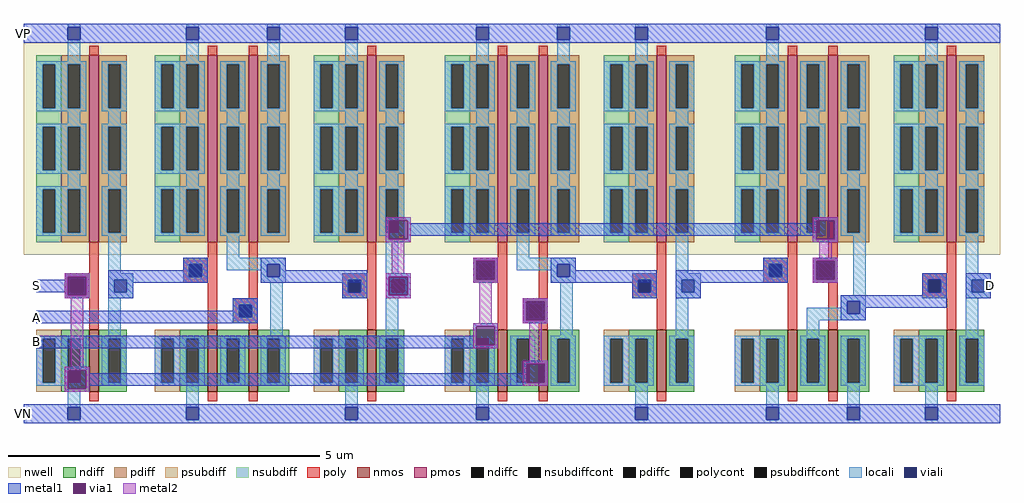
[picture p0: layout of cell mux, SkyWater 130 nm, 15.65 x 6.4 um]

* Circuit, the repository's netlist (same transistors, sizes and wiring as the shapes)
* NGSPICE file created from mux.ext - technology: sky130A

.subckt inverter A OUT VP VN
X0 OUT A VN VN sky130_fd_pr__nfet_01v8 ad=0.45 pd=2.9 as=0.45 ps=2.9 w=1 l=0.15
X1 OUT A VP VP sky130_fd_pr__pfet_01v8 ad=1.35 pd=6.9 as=1.35 ps=6.9 w=3 l=0.15
.ends

.subckt nor A B OUT VP VN
X0 VN B OUT VN sky130_fd_pr__nfet_01v8 ad=0.5 pd=3 as=0.25 ps=1.5 w=1 l=0.15
X1 OUT A VN VN sky130_fd_pr__nfet_01v8 ad=0.25 pd=1.5 as=0.45 ps=2.9 w=1 l=0.15
X2 a_30_480# A VP VP sky130_fd_pr__pfet_01v8 ad=0.75 pd=3.5 as=1.35 ps=6.9 w=3 l=0.15
X3 OUT B a_30_480# VP sky130_fd_pr__pfet_01v8 ad=1.5 pd=7 as=0.75 ps=3.5 w=3 l=0.15
.ends

.subckt or A B OUT VP VN
Xinverter_0 nor_0/OUT OUT VP VN inverter
Xnor_0 A B nor_0/OUT VP VN nor
.ends

.subckt nand A B OUT VP VN
X0 OUT B a_30_0# VN sky130_fd_pr__nfet_01v8 ad=0.5 pd=3 as=0.25 ps=1.5 w=1 l=0.15
X1 a_30_0# A VN VN sky130_fd_pr__nfet_01v8 ad=0.25 pd=1.5 as=0.45 ps=2.9 w=1 l=0.15
X2 OUT A VP VP sky130_fd_pr__pfet_01v8 ad=0.75 pd=3.5 as=1.35 ps=6.9 w=3 l=0.15
X3 VP B OUT VP sky130_fd_pr__pfet_01v8 ad=1.5 pd=7 as=0.75 ps=3.5 w=3 l=0.15
.ends

.subckt and A B OUT VP VN
Xinverter_0 nand_0/OUT OUT VP VN inverter
Xnand_0 A B nand_0/OUT VP VN nand
.ends

.subckt mux A B S D VP VN
Xinverter_0 S and_0/A VP VN inverter
Xor_0 or_0/A or_0/B D VP VN or
Xand_0 and_0/A A or_0/B VP VN and
Xand_1 B S or_0/A VP VN and
.ends

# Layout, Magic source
magic
tech sky130A
magscale 1 2
<< nwell >>
rect 1270 540 1310 1220
rect 2200 540 2250 1220
<< metal1 >>
rect 0 1220 30 1280
rect 1270 1220 1310 1280
rect 2200 1220 2240 1280
rect 1160 650 1240 660
rect 1160 590 1170 650
rect 1230 640 1240 650
rect 2530 650 2610 660
rect 2530 640 2540 650
rect 1230 600 2540 640
rect 1230 590 1240 600
rect 1160 580 1240 590
rect 2530 590 2540 600
rect 2600 590 2610 650
rect 2530 580 2610 590
rect 510 490 590 530
rect 130 470 210 480
rect 130 460 140 470
rect 40 420 140 460
rect 130 410 140 420
rect 200 410 210 470
rect 130 400 210 410
rect 270 450 590 490
rect 1440 520 1520 530
rect 1160 470 1240 480
rect 270 400 350 450
rect 1160 410 1170 470
rect 1230 410 1240 470
rect 1440 460 1450 520
rect 1510 460 1520 520
rect 2370 490 2450 530
rect 1440 450 1520 460
rect 2090 450 2450 490
rect 2530 520 2610 530
rect 2530 460 2540 520
rect 2600 460 2610 520
rect 2530 450 2610 460
rect 1160 400 1240 410
rect 2090 400 2170 450
rect 3020 400 3100 480
rect 670 360 750 400
rect 40 320 750 360
rect 1600 390 1680 400
rect 1600 330 1610 390
rect 1670 330 1680 390
rect 1600 320 1680 330
rect 1440 310 1520 320
rect 1440 280 1450 310
rect 40 250 1450 280
rect 1510 250 1520 310
rect 40 240 1520 250
rect 1600 190 1680 200
rect 130 170 210 180
rect 130 110 140 170
rect 200 160 210 170
rect 1600 160 1610 190
rect 200 130 1610 160
rect 1670 130 1680 190
rect 200 120 1680 130
rect 200 110 210 120
rect 130 100 210 110
rect 0 0 30 60
rect 1270 0 1310 60
rect 2200 0 2240 60
<< via1 >>
rect 1170 590 1230 650
rect 2540 590 2600 650
rect 140 410 200 470
rect 1170 410 1230 470
rect 1450 460 1510 520
rect 2540 460 2600 520
rect 1610 330 1670 390
rect 1450 250 1510 310
rect 140 110 200 170
rect 1610 130 1670 190
<< metal2 >>
rect 1160 650 1240 660
rect 1160 590 1170 650
rect 1230 590 1240 650
rect 1160 580 1240 590
rect 2530 650 2610 660
rect 2530 590 2540 650
rect 2600 590 2610 650
rect 2530 580 2610 590
rect 1180 480 1220 580
rect 2550 530 2590 580
rect 1440 520 1520 530
rect 130 470 210 480
rect 130 410 140 470
rect 200 410 210 470
rect 130 400 210 410
rect 1160 470 1240 480
rect 1160 410 1170 470
rect 1230 410 1240 470
rect 1440 460 1450 520
rect 1510 460 1520 520
rect 1440 450 1520 460
rect 2530 520 2610 530
rect 2530 460 2540 520
rect 2600 460 2610 520
rect 2530 450 2610 460
rect 1160 400 1240 410
rect 150 180 190 400
rect 1460 320 1500 450
rect 1600 390 1680 400
rect 1600 330 1610 390
rect 1670 330 1680 390
rect 1600 320 1680 330
rect 1440 310 1520 320
rect 1440 250 1450 310
rect 1510 250 1520 310
rect 1440 240 1520 250
rect 1620 200 1660 320
rect 1600 190 1680 200
rect 130 170 210 180
rect 130 110 140 170
rect 200 110 210 170
rect 1600 130 1610 190
rect 1670 130 1680 190
rect 1600 120 1680 130
rect 130 100 210 110
use and  and_0
transform 1 0 380 0 1 0
box 0 0 931 1280
use and  and_1
transform 1 0 1310 0 1 0
box 0 0 931 1280
use inverter  inverter_0
transform 1 0 210 0 1 100
box -210 -100 170 1180
use or  or_0
transform 1 0 2240 0 1 0
box 0 0 931 1280
<< labels >>
flabel metal1 40 420 40 460 1 FreeSans 400 0 0 0 S
port 3 n
flabel metal1 40 320 40 360 1 FreeSans 400 0 0 0 A
port 1 n
flabel metal1 40 240 40 280 1 FreeSans 400 0 0 0 B
port 2 n
flabel metal1 3100 400 3100 480 1 FreeSans 400 0 0 0 D
port 4 n
flabel metal1 0 1220 0 1280 3 FreeSans 400 0 0 0 VP
port 5 e
flabel metal1 0 0 0 60 3 FreeSans 400 0 0 0 VN
port 6 e
<< end >>

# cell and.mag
magic
tech sky130A
<< metal1 >>
rect 0 610 15 640
rect 65 225 105 265
rect 230 225 360 245
rect 390 200 430 240
rect 145 160 185 200
rect 0 0 15 30
use inverter  inverter_0
transform 1 0 360 0 1 50
box -105 -50 85 590
use nand  nand_0
transform 1 0 105 0 1 50
box -105 -50 150 590
<< labels >>
flabel metal1 65 225 65 265 1 FreeSans 200 0 0 0 A
port 1 n
flabel metal1 145 160 145 200 1 FreeSans 200 0 0 0 B
port 2 n
flabel metal1 430 200 430 240 1 FreeSans 200 0 0 0 OUT
port 3 n
flabel metal1 0 610 0 640 3 FreeSans 200 0 0 0 VP
port 4 e
flabel metal1 0 0 0 30 3 FreeSans 200 0 0 0 VN
port 5 e
<< end >>

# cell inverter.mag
magic
tech sky130A
<< nwell >>
rect -105 220 85 560
<< nmos >>
rect 0 0 15 100
<< pmos >>
rect 0 240 15 540
<< ndiff >>
rect -45 85 0 100
rect -45 15 -35 85
rect -15 15 0 85
rect -45 0 0 15
rect 15 85 60 100
rect 15 15 30 85
rect 50 15 60 85
rect 15 0 60 15
<< pdiff >>
rect -45 525 0 540
rect -45 455 -35 525
rect -15 455 0 525
rect -45 425 0 455
rect -45 355 -35 425
rect -15 355 0 425
rect -45 325 0 355
rect -45 255 -35 325
rect -15 255 0 325
rect -45 240 0 255
rect 15 525 60 540
rect 15 455 30 525
rect 50 455 60 525
rect 15 425 60 455
rect 15 355 30 425
rect 50 355 60 425
rect 15 325 60 355
rect 15 255 30 325
rect 50 255 60 325
rect 15 240 60 255
<< ndiffc >>
rect -35 15 -15 85
rect 30 15 50 85
<< pdiffc >>
rect -35 455 -15 525
rect -35 355 -15 425
rect -35 255 -15 325
rect 30 455 50 525
rect 30 355 50 425
rect 30 255 50 325
<< psubdiff >>
rect -85 85 -45 100
rect -85 15 -75 85
rect -55 15 -45 85
rect -85 0 -45 15
<< nsubdiff >>
rect -85 525 -45 540
rect -85 455 -75 525
rect -55 455 -45 525
rect -85 425 -45 455
rect -85 355 -75 425
rect -55 355 -45 425
rect -85 325 -45 355
rect -85 255 -75 325
rect -55 255 -45 325
rect -85 240 -45 255
<< psubdiffcont >>
rect -75 15 -55 85
<< nsubdiffcont >>
rect -75 455 -55 525
rect -75 355 -55 425
rect -75 255 -55 325
<< poly >>
rect 0 540 15 555
rect 0 190 15 240
rect -40 180 15 190
rect -40 160 -30 180
rect -10 160 15 180
rect -40 150 15 160
rect 0 100 15 150
rect 0 -15 15 0
<< polycont >>
rect -30 160 -10 180
<< locali >>
rect -35 585 -15 590
rect -35 530 -15 565
rect -85 525 -5 530
rect -85 455 -75 525
rect -55 455 -35 525
rect -15 455 -5 525
rect -85 450 -5 455
rect 20 525 60 530
rect 20 455 30 525
rect 50 455 60 525
rect 20 450 60 455
rect -35 430 -15 450
rect 30 430 50 450
rect -85 425 -5 430
rect -85 355 -75 425
rect -55 355 -35 425
rect -15 355 -5 425
rect -85 350 -5 355
rect 20 425 60 430
rect 20 355 30 425
rect 50 355 60 425
rect 20 350 60 355
rect -35 330 -15 350
rect 30 330 50 350
rect -85 325 -5 330
rect -85 255 -75 325
rect -55 255 -35 325
rect -15 255 -5 325
rect -85 250 -5 255
rect 20 325 60 330
rect 20 255 30 325
rect 50 255 60 325
rect 20 250 60 255
rect 30 190 50 250
rect -40 180 0 190
rect -40 160 -30 180
rect -10 160 0 180
rect -40 150 0 160
rect 30 180 70 190
rect 30 160 40 180
rect 60 160 70 180
rect 30 150 70 160
rect 30 90 50 150
rect -85 85 -5 90
rect -85 15 -75 85
rect -55 15 -35 85
rect -15 15 -5 85
rect -85 10 -5 15
rect 20 85 60 90
rect 20 15 30 85
rect 50 15 60 85
rect 20 10 60 15
rect -35 -25 -15 10
<< viali >>
rect -35 565 -15 585
rect -30 160 -10 180
rect 40 160 60 180
rect -35 -45 -15 -25
<< metal1 >>
rect -105 585 85 590
rect -105 565 -35 585
rect -15 565 85 585
rect -105 560 85 565
rect -40 180 0 190
rect -40 160 -30 180
rect -10 160 0 180
rect -40 150 0 160
rect 30 180 70 190
rect 30 160 40 180
rect 60 160 70 180
rect 30 150 70 160
rect -105 -25 85 -20
rect -105 -45 -35 -25
rect -15 -45 85 -25
rect -105 -50 85 -45
<< labels >>
flabel metal1 -40 150 -40 190 1 FreeSans 200 0 0 0 A
port 1 n
flabel metal1 70 150 70 190 1 FreeSans 200 0 0 0 OUT
port 2 n
flabel metal1 -105 560 -105 590 3 FreeSans 200 0 0 0 VP
port 3 e
flabel metal1 -105 -50 -105 -20 3 FreeSans 200 0 0 0 VN
port 4 e
<< end >>

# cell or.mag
magic
tech sky130A
<< metal1 >>
rect 0 610 20 640
rect 65 225 105 265
rect 145 225 185 265
rect 230 185 360 205
rect 390 200 430 240
rect 0 0 20 30
use inverter  inverter_0
transform 1 0 360 0 1 50
box -105 -50 85 590
use nor  nor_0
transform 1 0 105 0 1 50
box -105 -50 150 590
<< labels >>
flabel metal1 65 225 65 265 1 FreeSans 200 0 0 0 A
port 1 n
flabel metal1 145 225 145 265 1 FreeSans 200 0 0 0 B
port 2 n
flabel metal1 430 200 430 240 1 FreeSans 200 0 0 0 OUT
port 3 n
flabel metal1 0 610 0 640 3 FreeSans 200 0 0 0 VP
port 4 e
flabel metal1 0 0 0 30 3 FreeSans 200 0 0 0 VN
port 5 e
<< end >>

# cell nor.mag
magic
tech sky130A
<< nwell >>
rect -105 220 150 560
<< nmos >>
rect 0 0 15 100
rect 65 0 80 100
<< pmos >>
rect 0 240 15 540
rect 65 240 80 540
<< ndiff >>
rect -45 85 0 100
rect -45 15 -35 85
rect -15 15 0 85
rect -45 0 0 15
rect 15 85 65 100
rect 15 15 30 85
rect 50 15 65 85
rect 15 0 65 15
rect 80 85 130 100
rect 80 15 95 85
rect 115 15 130 85
rect 80 0 130 15
<< pdiff >>
rect -45 525 0 540
rect -45 455 -35 525
rect -15 455 0 525
rect -45 425 0 455
rect -45 355 -35 425
rect -15 355 0 425
rect -45 325 0 355
rect -45 255 -35 325
rect -15 255 0 325
rect -45 240 0 255
rect 15 525 65 540
rect 15 455 30 525
rect 50 455 65 525
rect 15 425 65 455
rect 15 355 30 425
rect 50 355 65 425
rect 15 325 65 355
rect 15 255 30 325
rect 50 255 65 325
rect 15 240 65 255
rect 80 525 130 540
rect 80 455 95 525
rect 115 455 130 525
rect 80 425 130 455
rect 80 355 95 425
rect 115 355 130 425
rect 80 325 130 355
rect 80 255 95 325
rect 115 255 130 325
rect 80 240 130 255
<< ndiffc >>
rect -35 15 -15 85
rect 30 15 50 85
rect 95 15 115 85
<< pdiffc >>
rect -35 455 -15 525
rect -35 355 -15 425
rect -35 255 -15 325
rect 30 455 50 525
rect 30 355 50 425
rect 30 255 50 325
rect 95 455 115 525
rect 95 355 115 425
rect 95 255 115 325
<< psubdiff >>
rect -85 85 -45 100
rect -85 15 -75 85
rect -55 15 -45 85
rect -85 0 -45 15
<< nsubdiff >>
rect -85 525 -45 540
rect -85 455 -75 525
rect -55 455 -45 525
rect -85 425 -45 455
rect -85 355 -75 425
rect -55 355 -45 425
rect -85 325 -45 355
rect -85 255 -75 325
rect -55 255 -45 325
rect -85 240 -45 255
<< psubdiffcont >>
rect -75 15 -55 85
<< nsubdiffcont >>
rect -75 455 -55 525
rect -75 355 -55 425
rect -75 255 -55 325
<< poly >>
rect 0 540 15 555
rect 65 540 80 555
rect 0 215 15 240
rect 65 215 80 240
rect -40 205 15 215
rect -40 185 -30 205
rect -10 185 15 205
rect -40 175 15 185
rect 40 205 80 215
rect 40 185 50 205
rect 70 185 80 205
rect 40 175 80 185
rect 0 100 15 175
rect 65 100 80 175
rect 0 -15 15 0
rect 65 -15 80 0
<< polycont >>
rect -30 185 -10 205
rect 50 185 70 205
<< locali >>
rect -35 585 -15 590
rect -35 530 -15 565
rect -85 525 -5 530
rect -85 455 -75 525
rect -55 455 -35 525
rect -15 455 -5 525
rect -85 450 -5 455
rect 20 525 60 530
rect 20 455 30 525
rect 50 455 60 525
rect 20 450 60 455
rect 85 525 125 530
rect 85 455 95 525
rect 115 455 125 525
rect 85 450 125 455
rect -35 430 -15 450
rect 30 430 50 450
rect 95 430 115 450
rect -85 425 -5 430
rect -85 355 -75 425
rect -55 355 -35 425
rect -15 355 -5 425
rect -85 350 -5 355
rect 20 425 60 430
rect 20 355 30 425
rect 50 355 60 425
rect 20 350 60 355
rect 85 425 125 430
rect 85 355 95 425
rect 115 355 125 425
rect 85 350 125 355
rect -35 330 -15 350
rect 30 330 50 350
rect 95 330 115 350
rect -85 325 -5 330
rect -85 255 -75 325
rect -55 255 -35 325
rect -15 255 -5 325
rect -85 250 -5 255
rect 20 325 60 330
rect 20 255 30 325
rect 50 255 60 325
rect 20 250 60 255
rect 85 325 125 330
rect 85 255 95 325
rect 115 255 125 325
rect 85 250 125 255
rect -40 205 0 215
rect -40 185 -30 205
rect -10 185 0 205
rect -40 175 0 185
rect 40 205 80 215
rect 40 185 50 205
rect 70 185 80 205
rect 40 175 80 185
rect 105 155 125 250
rect 85 145 125 155
rect 85 135 95 145
rect 30 125 95 135
rect 115 125 125 145
rect 30 115 125 125
rect 30 90 50 115
rect -85 85 -5 90
rect -85 15 -75 85
rect -55 15 -35 85
rect -15 15 -5 85
rect -85 10 -5 15
rect 20 85 60 90
rect 20 15 30 85
rect 50 15 60 85
rect 20 10 60 15
rect 85 85 125 90
rect 85 15 95 85
rect 115 15 125 85
rect 85 10 125 15
rect -35 -25 -15 10
rect 95 -25 115 10
<< viali >>
rect -35 565 -15 585
rect -30 185 -10 205
rect 50 185 70 205
rect 95 125 115 145
rect -35 -45 -15 -25
rect 95 -45 115 -25
<< metal1 >>
rect -105 585 150 590
rect -105 565 -35 585
rect -15 565 150 585
rect -105 560 150 565
rect -40 205 0 215
rect -40 185 -30 205
rect -10 185 0 205
rect -40 175 0 185
rect 40 205 80 215
rect 40 185 50 205
rect 70 185 80 205
rect 40 175 80 185
rect 85 145 125 155
rect 85 125 95 145
rect 115 125 125 145
rect 85 115 125 125
rect -105 -25 150 -20
rect -105 -45 -35 -25
rect -15 -45 95 -25
rect 115 -45 150 -25
rect -105 -50 150 -45
<< labels >>
flabel metal1 -40 175 -40 215 1 FreeSans 200 0 0 0 A
port 1 n
flabel metal1 -105 560 -105 590 3 FreeSans 200 0 0 0 VP
port 4 e
flabel metal1 -105 -50 -105 -20 3 FreeSans 200 0 0 0 VN
port 5 e
flabel metal1 40 175 40 215 1 FreeSans 200 0 0 0 B
port 2 n
flabel metal1 125 115 125 155 1 FreeSans 200 0 0 0 OUT
port 3 n
<< end >>

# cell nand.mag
magic
tech sky130A
<< nwell >>
rect -105 220 150 560
<< nmos >>
rect 0 0 15 100
rect 65 0 80 100
<< pmos >>
rect 0 240 15 540
rect 65 240 80 540
<< ndiff >>
rect -45 85 0 100
rect -45 15 -35 85
rect -15 15 0 85
rect -45 0 0 15
rect 15 85 65 100
rect 15 15 30 85
rect 50 15 65 85
rect 15 0 65 15
rect 80 85 130 100
rect 80 15 95 85
rect 115 15 130 85
rect 80 0 130 15
<< pdiff >>
rect -45 525 0 540
rect -45 455 -35 525
rect -15 455 0 525
rect -45 425 0 455
rect -45 355 -35 425
rect -15 355 0 425
rect -45 325 0 355
rect -45 255 -35 325
rect -15 255 0 325
rect -45 240 0 255
rect 15 525 65 540
rect 15 455 30 525
rect 50 455 65 525
rect 15 425 65 455
rect 15 355 30 425
rect 50 355 65 425
rect 15 325 65 355
rect 15 255 30 325
rect 50 255 65 325
rect 15 240 65 255
rect 80 525 130 540
rect 80 455 95 525
rect 115 455 130 525
rect 80 425 130 455
rect 80 355 95 425
rect 115 355 130 425
rect 80 325 130 355
rect 80 255 95 325
rect 115 255 130 325
rect 80 240 130 255
<< ndiffc >>
rect -35 15 -15 85
rect 30 15 50 85
rect 95 15 115 85
<< pdiffc >>
rect -35 455 -15 525
rect -35 355 -15 425
rect -35 255 -15 325
rect 30 455 50 525
rect 30 355 50 425
rect 30 255 50 325
rect 95 455 115 525
rect 95 355 115 425
rect 95 255 115 325
<< psubdiff >>
rect -85 85 -45 100
rect -85 15 -75 85
rect -55 15 -45 85
rect -85 0 -45 15
<< nsubdiff >>
rect -85 525 -45 540
rect -85 455 -75 525
rect -55 455 -45 525
rect -85 425 -45 455
rect -85 355 -75 425
rect -55 355 -45 425
rect -85 325 -45 355
rect -85 255 -75 325
rect -55 255 -45 325
rect -85 240 -45 255
<< psubdiffcont >>
rect -75 15 -55 85
<< nsubdiffcont >>
rect -75 455 -55 525
rect -75 355 -55 425
rect -75 255 -55 325
<< poly >>
rect 0 540 15 555
rect 65 540 80 555
rect 0 215 15 240
rect -40 205 15 215
rect -40 185 -30 205
rect -10 185 15 205
rect -40 175 15 185
rect 0 100 15 175
rect 65 150 80 240
rect 40 140 80 150
rect 40 120 50 140
rect 70 120 80 140
rect 40 110 80 120
rect 65 100 80 110
rect 0 -15 15 0
rect 65 -15 80 0
<< polycont >>
rect -30 185 -10 205
rect 50 120 70 140
<< locali >>
rect -35 585 -15 590
rect -35 530 -15 565
rect 95 585 115 590
rect 95 530 115 565
rect -85 525 -5 530
rect -85 455 -75 525
rect -55 455 -35 525
rect -15 455 -5 525
rect -85 450 -5 455
rect 20 525 60 530
rect 20 455 30 525
rect 50 455 60 525
rect 20 450 60 455
rect 85 525 125 530
rect 85 455 95 525
rect 115 455 125 525
rect 85 450 125 455
rect -35 430 -15 450
rect 30 430 50 450
rect 95 430 115 450
rect -85 425 -5 430
rect -85 355 -75 425
rect -55 355 -35 425
rect -15 355 -5 425
rect -85 350 -5 355
rect 20 425 60 430
rect 20 355 30 425
rect 50 355 60 425
rect 20 350 60 355
rect 85 425 125 430
rect 85 355 95 425
rect 115 355 125 425
rect 85 350 125 355
rect -35 330 -15 350
rect 30 330 50 350
rect 95 330 115 350
rect -85 325 -5 330
rect -85 255 -75 325
rect -55 255 -35 325
rect -15 255 -5 325
rect -85 250 -5 255
rect 20 325 60 330
rect 20 255 30 325
rect 50 255 60 325
rect 20 250 60 255
rect 85 325 125 330
rect 85 255 95 325
rect 115 255 125 325
rect 85 250 125 255
rect 30 215 50 250
rect -40 205 0 215
rect -40 185 -30 205
rect -10 185 0 205
rect 30 205 125 215
rect 30 195 95 205
rect -40 175 0 185
rect 85 185 95 195
rect 115 185 125 205
rect 85 175 125 185
rect 40 140 80 150
rect 40 120 50 140
rect 70 120 80 140
rect 40 110 80 120
rect 100 90 120 175
rect -85 85 -5 90
rect -85 15 -75 85
rect -55 15 -35 85
rect -15 15 -5 85
rect -85 10 -5 15
rect 20 85 60 90
rect 20 15 30 85
rect 50 15 60 85
rect 20 10 60 15
rect 85 85 125 90
rect 85 15 95 85
rect 115 15 125 85
rect 85 10 125 15
rect -35 -25 -15 10
<< viali >>
rect -35 565 -15 585
rect 95 565 115 585
rect -30 185 -10 205
rect 95 185 115 205
rect 50 120 70 140
rect -35 -45 -15 -25
<< metal1 >>
rect -105 585 150 590
rect -105 565 -35 585
rect -15 565 95 585
rect 115 565 150 585
rect -105 560 150 565
rect -40 205 0 215
rect -40 185 -30 205
rect -10 185 0 205
rect -40 175 0 185
rect 85 205 125 215
rect 85 185 95 205
rect 115 185 125 205
rect 85 175 125 185
rect 40 140 80 150
rect 40 120 50 140
rect 70 120 80 140
rect 40 110 80 120
rect -105 -25 150 -20
rect -105 -45 -35 -25
rect -15 -45 150 -25
rect -105 -50 150 -45
<< labels >>
flabel metal1 -40 175 -40 215 1 FreeSans 200 0 0 0 A
port 1 n
flabel metal1 40 110 40 150 1 FreeSans 200 0 0 0 B
port 2 n
flabel metal1 125 175 125 215 1 FreeSans 200 0 0 0 OUT
port 3 n
flabel metal1 -105 560 -105 590 3 FreeSans 200 0 0 0 VP
port 4 e
flabel metal1 -105 -50 -105 -20 3 FreeSans 200 0 0 0 VN
port 5 e
<< end >>
